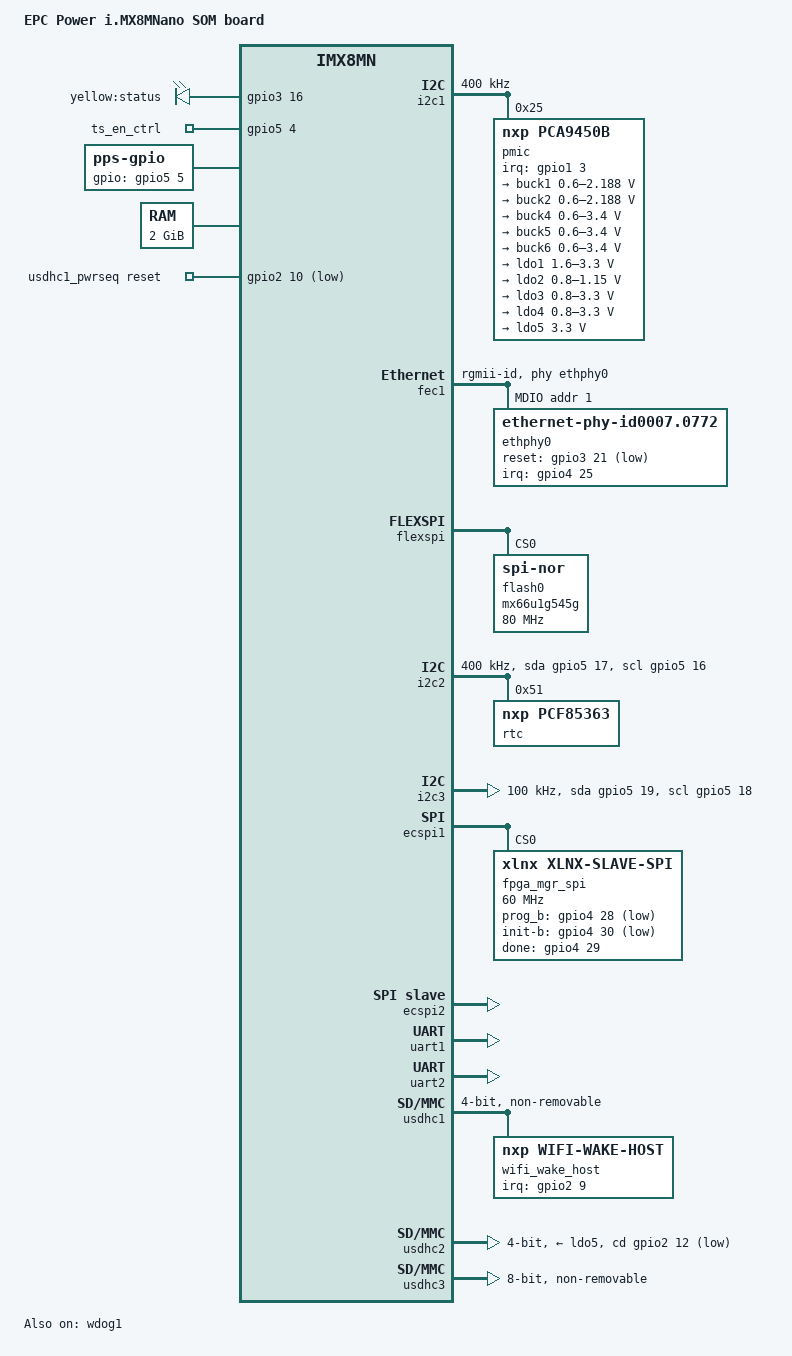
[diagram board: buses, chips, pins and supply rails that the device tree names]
// SPDX-License-Identifier: (GPL-2.0+ OR MIT)
/*
 * Copyright 2019 NXP
 * Copyright 2023 EPC Power
 */

/dts-v1/;

#include "imx8mn.dtsi"
#include <dt-bindings/interrupt-controller/irq.h>
#include <dt-bindings/net/mscc-phy-vsc8531.h>

/ {
	model = "EPC Power i.MX8MNano SOM board";
	compatible = "fsl,imx8mn";

	aliases {
		rtc0 = &rtc;
	};

	chosen {
		stdout-path = &uart2;
	};

	gpio-leds {
		compatible = "gpio-leds";
		pinctrl-names = "default";
		pinctrl-0 = <&pinctrl_gpio_led>;

		status {
			label = "yellow:status";
			gpios = <&gpio3 16 GPIO_ACTIVE_HIGH>;
			default-state = "on";
		};

		ts_en_ctrl {
			label = "ts_en_ctrl";
			gpios = <&gpio5 4 GPIO_ACTIVE_HIGH>;
			default-state = "on";
		};
	};

	pps {
		compatible = "pps-gpio";
		pinctrl-names = "default";
		pinctrl-0 = <&pinctrl_pps>;
		gpios = <&gpio5 5 GPIO_ACTIVE_HIGH>;
		status = "okay";
	};

	memory@40000000 {
		device_type = "memory";
		reg = <0x0 0x40000000 0 0x80000000>;
	};

	usdhc1_pwrseq: usdhc1_pwrseq {
		compatible = "mmc-pwrseq-simple";
		pinctrl-names = "default";
		pinctrl-0 = <&pinctrl_usdhc1_gpio>;
		reset-gpios = <&gpio2 10 GPIO_ACTIVE_LOW>;
	};
};

&A53_0 {
	cpu-supply = <&buck2>;
};

&A53_1 {
	cpu-supply = <&buck2>;
};

&A53_2 {
	cpu-supply = <&buck2>;
};

&A53_3 {
	cpu-supply = <&buck2>;
};

&i2c1 {
	clock-frequency = <400000>;
	pinctrl-names = "default";
	pinctrl-0 = <&pinctrl_i2c1>;
	status = "okay";

	pmic: pmic@25 {
		compatible = "nxp,pca9450b";
		reg = <0x25>;
		pinctrl-names = "default";
		pinctrl-0 = <&pinctrl_pmic>;
		interrupt-parent = <&gpio1>;
		interrupts = <3 IRQ_TYPE_LEVEL_LOW>;

		regulators {
			buck1: BUCK1 {
				regulator-name = "BUCK1";
				regulator-min-microvolt = <600000>;
				regulator-max-microvolt = <2187500>;
				regulator-boot-on;
				regulator-always-on;
				regulator-ramp-delay = <3125>;
				nxp,dvs-run-voltage = <950000>;
				nxp,dvs-standby-voltage = <750000>;
			};

			buck2: BUCK2 {
				regulator-name = "BUCK2";
				regulator-min-microvolt = <600000>;
				regulator-max-microvolt = <2187500>;
				regulator-boot-on;
				regulator-always-on;
				regulator-ramp-delay = <3125>;
			};

			buck4: BUCK4{
				regulator-name = "BUCK4";
				regulator-min-microvolt = <600000>;
				regulator-max-microvolt = <3400000>;
				regulator-boot-on;
				regulator-always-on;
			};

			buck5: BUCK5{
				regulator-name = "BUCK5";
				regulator-min-microvolt = <600000>;
				regulator-max-microvolt = <3400000>;
				regulator-boot-on;
				regulator-always-on;
			};

			buck6: BUCK6 {
				regulator-name = "BUCK6";
				regulator-min-microvolt = <600000>;
				regulator-max-microvolt = <3400000>;
				regulator-boot-on;
				regulator-always-on;
			};

			ldo1: LDO1 {
				regulator-name = "LDO1";
				regulator-min-microvolt = <1600000>;
				regulator-max-microvolt = <3300000>;
				regulator-boot-on;
				regulator-always-on;
			};

			ldo2: LDO2 {
				regulator-name = "LDO2";
				regulator-min-microvolt = <800000>;
				regulator-max-microvolt = <1150000>;
				regulator-boot-on;
				regulator-always-on;
			};

			ldo3: LDO3 {
				regulator-name = "LDO3";
				regulator-min-microvolt = <800000>;
				regulator-max-microvolt = <3300000>;
				regulator-boot-on;
				regulator-always-on;
			};

			ldo4: LDO4 {
				regulator-name = "LDO4";
				regulator-min-microvolt = <800000>;
				regulator-max-microvolt = <3300000>;
				regulator-boot-on;
				regulator-always-on;
			};

			ldo5: LDO5 {
				regulator-name = "LDO5";
				regulator-min-microvolt = <3300000>;
				regulator-max-microvolt = <3300000>;
				regulator-boot-on;
				regulator-always-on;
			};
		};
	};
};

&fec1 {
	pinctrl-names = "default";
	pinctrl-0 = <&pinctrl_fec1>;
	phy-mode = "rgmii-id";
	phy-handle = <&ethphy0>;
	fsl,magic-packet;
	status = "okay";

	mdio {
		#address-cells = <1>;
		#size-cells = <0>;

		ethphy0: ethernet-phy@1 {
			reg = <1>;
			compatible = "ethernet-phy-id0007.0772";
			reset-gpios = <&gpio3 21 GPIO_ACTIVE_LOW>;  /* PHY RST */
			reset-assert-us = <500>;
			reset-deassert-us = <500>;
			interrupt-parent = <&gpio4>;
			interrupts = <25 IRQ_TYPE_LEVEL_LOW>;  /* MDINT */
			vsc8531,led-0-mode = <VSC8531_LINK_100_1000_ACTIVITY>;
			vsc8531,led-1-mode = <VSC8531_LINK_ACTIVITY>;
			vsc8531,led-0-combine-disable;
		};
	};
};

&soc {
	fpga_region0: fpga-region0 {
		compatible = "fpga-region";
		fpga-mgr = <&fpga_mgr_spi>;
		#address-cells = <0x1>;
		#size-cells = <0x1>;
	};
};

&flexspi {
	pinctrl-names = "default";
	pinctrl-0 = <&pinctrl_flexspi0>;
	status = "okay";

	flash0: mx66u1g545g@0 {
		reg = <0>;
		#address-cells = <1>;
		#size-cells = <1>;
		compatible = "jedec,spi-nor";
		spi-max-frequency = <80000000>;
		spi-tx-bus-width = <1>;
		spi-rx-bus-width = <4>;
	};
};

&i2c1 {
	clock-frequency = <400000>;
	pinctrl-names = "default";
	pinctrl-0 = <&pinctrl_i2c1>;
	status = "okay";
};

/delete-node/&snvs;

&i2c2 {
	clock-frequency = <400000>;
	pinctrl-names = "default", "gpio";
	pinctrl-0 = <&pinctrl_i2c2>;
	pinctrl-1 = <&pinctrl_i2c2_gpio>;
	scl-gpios = <&gpio5 16 GPIO_ACTIVE_HIGH>;
	sda-gpios = <&gpio5 17 GPIO_ACTIVE_HIGH>;
	status = "okay";

	rtc: rtc@51 {
		compatible = "nxp,pcf85363";
		reg = <0x51>;
		#clock-cells = <0>;
		status = "okay";
    };
};

&i2c3 {
	clock-frequency = <100000>;
	pinctrl-names = "default", "gpio";
	pinctrl-0 = <&pinctrl_i2c3>;
	pinctrl-1 = <&pinctrl_i2c3_gpio>;
	scl-gpios = <&gpio5 18 GPIO_ACTIVE_HIGH>;
	sda-gpios = <&gpio5 19 GPIO_ACTIVE_HIGH>;
	status = "okay";
};

&ecspi1 {
	pinctrl-names = "default";
	pinctrl-0 = <&pinctrl_fpga>;
	status = "okay";

	fpga_mgr_spi: fpga-mgr@0 {
		compatible = "xlnx,xlnx-slave-spi";
		spi-max-frequency = <60000000>;
		spi-cpha;
		reg = <0>;
		prog_b-gpios = <&gpio4 28 GPIO_ACTIVE_LOW>;
		init-b-gpios = <&gpio4 30 GPIO_ACTIVE_LOW>;
		done-gpios   = <&gpio4 29 GPIO_ACTIVE_HIGH>;
	};
};

&ecspi2 {
	pinctrl-names = "default";
	pinctrl-0 = <&pinctrl_ecspi2>;
	status = "okay";
	/delete-property/ cs-gpios;
	spi-slave;

	slave {
		compatible = "fsl,imx8mn-ecspi", "fsl,imx51-ecspi";
		spi-max-frequency = <1000000>;
	};
};

&uart1 { /* FPGA */
	pinctrl-names = "default";
	pinctrl-0 = <&pinctrl_uart1>;
	/delete-property/dmas;
	/delete-property/dma-names;
	status = "okay";
};

&uart2 { /* console */
	pinctrl-names = "default";
	pinctrl-0 = <&pinctrl_uart2>;
	status = "okay";
};

&usdhc1 {
	#address-cells = <1>;
	#size-cells = <0>;
	pinctrl-names = "default", "state_100mhz", "state_200mhz";
	pinctrl-0 = <&pinctrl_usdhc1>;
	pinctrl-1 = <&pinctrl_usdhc1_100mhz>;
	pinctrl-2 = <&pinctrl_usdhc1_200mhz>;
	bus-width = <4>;
	keep-power-in-suspend;
	non-removable;
	wakeup-source;
	fsl,sdio-async-interrupt-enabled;
	/delete-property/ vmmc-supply;
	mmc-pwrseq = <&usdhc1_pwrseq>;
	status = "okay";

	wifi_wake_host {
		compatible = "nxp,wifi-wake-host";
		interrupt-parent = <&gpio2>;
		interrupts = <9 IRQ_TYPE_LEVEL_LOW>;
		interrupt-names = "host-wake";
	};
};

&usdhc2 {
	assigned-clocks = <&clk IMX8MN_CLK_USDHC2>;
	assigned-clock-rates = <200000000>;
	pinctrl-names = "default", "state_100mhz", "state_200mhz";
	pinctrl-0 = <&pinctrl_usdhc2>, <&pinctrl_usdhc2_gpio>;
	pinctrl-1 = <&pinctrl_usdhc2_100mhz>, <&pinctrl_usdhc2_gpio>;
	pinctrl-2 = <&pinctrl_usdhc2_200mhz>, <&pinctrl_usdhc2_gpio>;
	cd-gpios = <&gpio2 12 GPIO_ACTIVE_LOW>;
	disable-wp;
	no-1-8-v;
	bus-width = <4>;
	vmmc-supply = <&ldo5>;
	status = "okay";
};

&usdhc3 {
	assigned-clocks = <&clk IMX8MN_CLK_USDHC3_ROOT>;
	assigned-clock-rates = <400000000>;
	pinctrl-names = "default", "state_100mhz", "state_200mhz";
	pinctrl-0 = <&pinctrl_usdhc3>;
	pinctrl-1 = <&pinctrl_usdhc3_100mhz>;
	pinctrl-2 = <&pinctrl_usdhc3_200mhz>;
	bus-width = <8>;
	non-removable;
	status = "okay";
};

&wdog1 {
	pinctrl-names = "default";
	pinctrl-0 = <&pinctrl_wdog>;
	fsl,ext-reset-output;
	status = "okay";
};

&iomuxc {
	pinctrl_fec1: fec1grp {
		fsl,pins = <
			MX8MN_IOMUXC_ENET_MDC_ENET1_MDC				0x3
			MX8MN_IOMUXC_ENET_MDIO_ENET1_MDIO			0x3
			MX8MN_IOMUXC_ENET_TD3_ENET1_RGMII_TD3		0x11f
			MX8MN_IOMUXC_ENET_TD2_ENET1_RGMII_TD2		0x11f
			MX8MN_IOMUXC_ENET_TD1_ENET1_RGMII_TD1		0x11f
			MX8MN_IOMUXC_ENET_TD0_ENET1_RGMII_TD0		0x11f
			MX8MN_IOMUXC_ENET_RD3_ENET1_RGMII_RD3		0x81
			MX8MN_IOMUXC_ENET_RD2_ENET1_RGMII_RD2		0x81
			MX8MN_IOMUXC_ENET_RD1_ENET1_RGMII_RD1		0x81
			MX8MN_IOMUXC_ENET_RD0_ENET1_RGMII_RD0		0x81
			MX8MN_IOMUXC_ENET_TXC_ENET1_RGMII_TXC		0x11f
			MX8MN_IOMUXC_ENET_RXC_ENET1_RGMII_RXC		0x81
			MX8MN_IOMUXC_ENET_RX_CTL_ENET1_RGMII_RX_CTL	0x81
			MX8MN_IOMUXC_ENET_TX_CTL_ENET1_RGMII_TX_CTL	0x11f
			MX8MN_IOMUXC_SAI5_RXD0_GPIO3_IO21			0x119  /* PHY RST */
			MX8MN_IOMUXC_SAI2_TXC_GPIO4_IO25			0x29   /* MDINT */
		>;
	};

	pinctrl_flexspi0: flexspi0grp {
		fsl,pins = <
			MX8MN_IOMUXC_NAND_ALE_QSPI_A_SCLK		0x1c4
			MX8MN_IOMUXC_NAND_CE0_B_QSPI_A_SS0_B		0x84
			MX8MN_IOMUXC_NAND_DATA00_QSPI_A_DATA0		0x84
			MX8MN_IOMUXC_NAND_DATA01_QSPI_A_DATA1		0x84
			MX8MN_IOMUXC_NAND_DATA02_QSPI_A_DATA2		0x84
			MX8MN_IOMUXC_NAND_DATA03_QSPI_A_DATA3		0x84
		>;
	};

	pinctrl_fpga: fpga_ctrlgrp {
		fsl,pins = <
			MX8MN_IOMUXC_SAI3_RXFS_GPIO4_IO28		0x5     /* prog_b */
			MX8MN_IOMUXC_SAI3_RXC_GPIO4_IO29		0x5     /* done */
			MX8MN_IOMUXC_SAI3_RXD_GPIO4_IO30     	0x5     /* init-b */
			MX8MN_IOMUXC_ECSPI1_SCLK_ECSPI1_SCLK 	0x156
			MX8MN_IOMUXC_ECSPI1_MOSI_ECSPI1_MOSI 	0x156
			MX8MN_IOMUXC_SPDIF_TX_GPIO5_IO3         0x5     /* ISO_TS (TP44/R83)*/
 		>;
 	};

	pinctrl_ecspi2: ecspi2grp {
		fsl,pins = <
			MX8MN_IOMUXC_ECSPI2_SCLK_ECSPI2_SCLK 0x156
			MX8MN_IOMUXC_ECSPI2_MOSI_ECSPI2_MOSI 0x156
			MX8MN_IOMUXC_ECSPI2_MISO_ECSPI2_MISO 0x156
			MX8MN_IOMUXC_ECSPI2_SS0_ECSPI2_SS0 0x156
		>;
	};

	pinctrl_gpio_led: gpioledgrp {
		fsl,pins = <
			MX8MN_IOMUXC_SPDIF_RX_GPIO5_IO4			0x19	/* TS_EN_CTRL*/
			MX8MN_IOMUXC_NAND_READY_B_GPIO3_IO16	0x19
		>;
	};

	pinctrl_i2c2_gpio: i2c2grp-gpio {
		fsl,pins = <
			MX8MN_IOMUXC_I2C2_SCL_GPIO5_IO16		0x1c3
			MX8MN_IOMUXC_I2C2_SDA_GPIO5_IO17		0x1c3
		>;
	};

	pinctrl_i2c1: i2c1grp {
		fsl,pins = <
			MX8MN_IOMUXC_I2C1_SCL_I2C1_SCL		0x400001c3
			MX8MN_IOMUXC_I2C1_SDA_I2C1_SDA		0x400001c3
		>;
	};

	pinctrl_i2c2: i2c2grp {
		fsl,pins = <
			MX8MN_IOMUXC_I2C2_SCL_I2C2_SCL		0x400001c3
			MX8MN_IOMUXC_I2C2_SDA_I2C2_SDA		0x400001c3
		>;
	};

	pinctrl_i2c3: i2c3grp {
		fsl,pins = <
			MX8MN_IOMUXC_I2C3_SCL_I2C3_SCL		0x400001c3
			MX8MN_IOMUXC_I2C3_SDA_I2C3_SDA		0x400001c3
		>;
	};

	pinctrl_i2c3_gpio: i2c3grp-gpio {
		fsl,pins = <
			MX8MN_IOMUXC_I2C3_SCL_GPIO5_IO18		0x1c3
			MX8MN_IOMUXC_I2C3_SDA_GPIO5_IO19		0x1c3
		>;
	};

	pinctrl_pmic: pmicirqgrp {
		fsl,pins = <
			MX8MN_IOMUXC_GPIO1_IO03_GPIO1_IO3	0x141
		>;
	};

	pinctrl_uart1: uart1grp {
		fsl,pins = <
			MX8MN_IOMUXC_UART1_RXD_UART1_DCE_RX	0x140
			MX8MN_IOMUXC_UART1_TXD_UART1_DCE_TX	0x140
		>;
	};

	pinctrl_uart2: uart2grp {
		fsl,pins = <
			MX8MN_IOMUXC_UART2_RXD_UART2_DCE_RX	0x140
			MX8MN_IOMUXC_UART2_TXD_UART2_DCE_TX	0x140
		>;
	};

	pinctrl_ecspi1: ecspi1grp {
		fsl,pins = <
			MX8MN_IOMUXC_ECSPI1_SCLK_ECSPI1_SCLK 0x156
			MX8MN_IOMUXC_ECSPI1_MOSI_ECSPI1_MOSI 0x156
			MX8MN_IOMUXC_ECSPI1_SS0_ECSPI1_SS0 0x156
			MX8MN_IOMUXC_ECSPI1_MISO_ECSPI1_MISO 0x156
		>;
	};

	pinctrl_usdhc1_gpio: usdhc1grpgpio {
		fsl,pins = <
			MX8MN_IOMUXC_SD1_RESET_B_GPIO2_IO10	0x41
		>;
	};

	pinctrl_usdhc1: usdhc1grp {
		fsl,pins = <
			MX8MN_IOMUXC_SD1_CLK_USDHC1_CLK		0x190
			MX8MN_IOMUXC_SD1_CMD_USDHC1_CMD		0x1d0
			MX8MN_IOMUXC_SD1_DATA0_USDHC1_DATA0	0x1d0
			MX8MN_IOMUXC_SD1_DATA1_USDHC1_DATA1	0x1d0
			MX8MN_IOMUXC_SD1_DATA2_USDHC1_DATA2	0x1d0
			MX8MN_IOMUXC_SD1_DATA3_USDHC1_DATA3	0x1d0
		>;
	};

	pinctrl_usdhc1_100mhz: usdhc1grp100mhz {
		fsl,pins = <
			MX8MN_IOMUXC_SD1_CLK_USDHC1_CLK		0x194
			MX8MN_IOMUXC_SD1_CMD_USDHC1_CMD		0x1d4
			MX8MN_IOMUXC_SD1_DATA0_USDHC1_DATA0	0x1d4
			MX8MN_IOMUXC_SD1_DATA1_USDHC1_DATA1	0x1d4
			MX8MN_IOMUXC_SD1_DATA2_USDHC1_DATA2	0x1d4
			MX8MN_IOMUXC_SD1_DATA3_USDHC1_DATA3	0x1d4
		>;
	};

	pinctrl_usdhc1_200mhz: usdhc1grp200mhz {
		fsl,pins = <
			MX8MN_IOMUXC_SD1_CLK_USDHC1_CLK		0x196
			MX8MN_IOMUXC_SD1_CMD_USDHC1_CMD		0x1d6
			MX8MN_IOMUXC_SD1_DATA0_USDHC1_DATA0	0x1d6
			MX8MN_IOMUXC_SD1_DATA1_USDHC1_DATA1	0x1d6
			MX8MN_IOMUXC_SD1_DATA2_USDHC1_DATA2	0x1d6
			MX8MN_IOMUXC_SD1_DATA3_USDHC1_DATA3	0x1d6
		>;
	};

	pinctrl_usdhc2_gpio: usdhc2gpiogrp {
		fsl,pins = <
			MX8MN_IOMUXC_SD2_CD_B_GPIO2_IO12	0x41
			MX8MN_IOMUXC_SD2_RESET_B_GPIO2_IO19	0x41
		>;
	};

	pinctrl_usdhc2: usdhc2grp {
		fsl,pins = <
			MX8MN_IOMUXC_SD2_CLK_USDHC2_CLK		0x190
			MX8MN_IOMUXC_SD2_CMD_USDHC2_CMD		0x1d0
			MX8MN_IOMUXC_SD2_DATA0_USDHC2_DATA0	0x1d0
			MX8MN_IOMUXC_SD2_DATA1_USDHC2_DATA1	0x1d0
			MX8MN_IOMUXC_SD2_DATA2_USDHC2_DATA2	0x1d0
			MX8MN_IOMUXC_SD2_DATA3_USDHC2_DATA3	0x1d0
			MX8MN_IOMUXC_GPIO1_IO04_USDHC2_VSELECT	0x41
		>;
	};

	pinctrl_usdhc2_100mhz: usdhc2-100mhzgrp {
		fsl,pins = <
			MX8MN_IOMUXC_SD2_CLK_USDHC2_CLK		0x194
			MX8MN_IOMUXC_SD2_CMD_USDHC2_CMD		0x1d4
			MX8MN_IOMUXC_SD2_DATA0_USDHC2_DATA0	0x1d4
			MX8MN_IOMUXC_SD2_DATA1_USDHC2_DATA1	0x1d4
			MX8MN_IOMUXC_SD2_DATA2_USDHC2_DATA2	0x1d4
			MX8MN_IOMUXC_SD2_DATA3_USDHC2_DATA3	0x1d4
			MX8MN_IOMUXC_GPIO1_IO04_USDHC2_VSELECT	0x41
		>;
	};

	pinctrl_usdhc2_200mhz: usdhc2-200mhzgrp {
		fsl,pins = <
			MX8MN_IOMUXC_SD2_CLK_USDHC2_CLK		0x196
			MX8MN_IOMUXC_SD2_CMD_USDHC2_CMD		0x1d6
			MX8MN_IOMUXC_SD2_DATA0_USDHC2_DATA0	0x1d6
			MX8MN_IOMUXC_SD2_DATA1_USDHC2_DATA1	0x1d6
			MX8MN_IOMUXC_SD2_DATA2_USDHC2_DATA2	0x1d6
			MX8MN_IOMUXC_SD2_DATA3_USDHC2_DATA3	0x1d6
			MX8MN_IOMUXC_GPIO1_IO04_USDHC2_VSELECT	0x41
		>;
	};

	pinctrl_usdhc3: usdhc3grp {
		fsl,pins = <
			MX8MN_IOMUXC_NAND_WE_B_USDHC3_CLK		0x40000190
			MX8MN_IOMUXC_NAND_WP_B_USDHC3_CMD		0x1d0
			MX8MN_IOMUXC_NAND_DATA04_USDHC3_DATA0		0x1d0
			MX8MN_IOMUXC_NAND_DATA05_USDHC3_DATA1		0x1d0
			MX8MN_IOMUXC_NAND_DATA06_USDHC3_DATA2		0x1d0
			MX8MN_IOMUXC_NAND_DATA07_USDHC3_DATA3		0x1d0
			MX8MN_IOMUXC_NAND_RE_B_USDHC3_DATA4		0x1d0
			MX8MN_IOMUXC_NAND_CE2_B_USDHC3_DATA5		0x1d0
			MX8MN_IOMUXC_NAND_CE3_B_USDHC3_DATA6		0x1d0
			MX8MN_IOMUXC_NAND_CLE_USDHC3_DATA7		0x1d0
			MX8MN_IOMUXC_NAND_CE1_B_USDHC3_STROBE		0x190
		>;
	};

	pinctrl_usdhc3_100mhz: usdhc3-100mhzgrp {
		fsl,pins = <
			MX8MN_IOMUXC_NAND_WE_B_USDHC3_CLK		0x40000194
			MX8MN_IOMUXC_NAND_WP_B_USDHC3_CMD		0x1d4
			MX8MN_IOMUXC_NAND_DATA04_USDHC3_DATA0		0x1d4
			MX8MN_IOMUXC_NAND_DATA05_USDHC3_DATA1		0x1d4
			MX8MN_IOMUXC_NAND_DATA06_USDHC3_DATA2		0x1d4
			MX8MN_IOMUXC_NAND_DATA07_USDHC3_DATA3		0x1d4
			MX8MN_IOMUXC_NAND_RE_B_USDHC3_DATA4		0x1d4
			MX8MN_IOMUXC_NAND_CE2_B_USDHC3_DATA5		0x1d4
			MX8MN_IOMUXC_NAND_CE3_B_USDHC3_DATA6		0x1d4
			MX8MN_IOMUXC_NAND_CLE_USDHC3_DATA7		0x1d4
			MX8MN_IOMUXC_NAND_CE1_B_USDHC3_STROBE		0x194
		>;
	};

	pinctrl_usdhc3_200mhz: usdhc3-200mhzgrp {
		fsl,pins = <
			MX8MN_IOMUXC_NAND_WE_B_USDHC3_CLK		0x40000196
			MX8MN_IOMUXC_NAND_WP_B_USDHC3_CMD		0x1d6
			MX8MN_IOMUXC_NAND_DATA04_USDHC3_DATA0		0x1d6
			MX8MN_IOMUXC_NAND_DATA05_USDHC3_DATA1		0x1d6
			MX8MN_IOMUXC_NAND_DATA06_USDHC3_DATA2		0x1d6
			MX8MN_IOMUXC_NAND_DATA07_USDHC3_DATA3		0x1d6
			MX8MN_IOMUXC_NAND_RE_B_USDHC3_DATA4		0x1d6
			MX8MN_IOMUXC_NAND_CE2_B_USDHC3_DATA5		0x1d6
			MX8MN_IOMUXC_NAND_CE3_B_USDHC3_DATA6		0x1d6
			MX8MN_IOMUXC_NAND_CLE_USDHC3_DATA7		0x1d6
			MX8MN_IOMUXC_NAND_CE1_B_USDHC3_STROBE		0x196
		>;
	};

	pinctrl_wdog: wdoggrp {
		fsl,pins = <
			MX8MN_IOMUXC_GPIO1_IO02_WDOG1_WDOG_B		0x166
		>;
	};

	pinctrl_pps: ppsgrp {
		fsl,pins = <
			MX8MN_IOMUXC_SPDIF_EXT_CLK_GPIO5_IO5    		0x141 /* FPGA ISO_PPS */
		>;
	};
};
